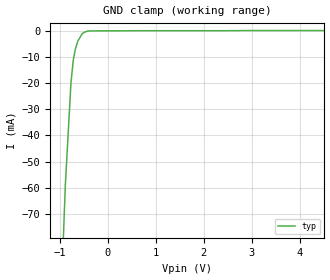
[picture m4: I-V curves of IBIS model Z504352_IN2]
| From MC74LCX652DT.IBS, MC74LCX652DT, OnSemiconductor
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| (C) COPYRIGHT 1993-2000
| MENTOR GRAPHICS CORPORATION
| ICX STANDARD LIBRARY, ICX PROJECT MODELING,
| ICX CUSTOM MODELING, ICX VENDOR MODEL
| ALL RIGHTS RESERVED.
| THE FOLLOWING ARE TRADEMARKS OR SERVICE MARKS OF
| MENTOR GRAPHICS CORPORATION:ICX (R), ICX STANDARD
| LIBRARY(R), ICX PROJECT MODELING(R), ICX CUSTOM
| MODELING(R), qualityIBIS(TM), MODELVIEWER(TM),
| AND MODELEDITOR(TM)
| ALL COPIES OF SOFTWARE, INCLUDING BUT NOT LIMITED TO
| ANY MODIFICATIONS, ENHANCEMENTS OR DERIVATIVE WORKS,
| MUST CONTAIN ALL MENTOR GRAPHICS CORPORATION'S
| NOTICES AND LEGENDS, INCLUDING THOSE EMBEDDED IN
| SOFTWARE AND THOSE AFFIXED TO SOFTWARE MEDIUM
| AND CONTAINER, AS RECEIVED FROM MENTOR GRAPHICS
| CORPORATION.
| Model Application Version 1.89 2/18/99.
[Model] Z504352_IN2
Model_type Input
Vinl = 800.0mV
Vinh = 2.000V
C_comp 4.000pF NA NA
| variable typ   min   max
[Voltage Range] 3.300V NA NA
[GND Clamp Reference] 0.000V NA NA
[POWER Clamp Reference] 3.300V NA NA
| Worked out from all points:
|   GND clamp passes 1 mA (typ) near -0.54 V on its own axis
[GND Clamp]
-3.3V     -1.465A    NA         NA
-1.029V   -129.6mA   NA         NA
-885.6mV  -58.83mA   NA         NA
-768mV    -19.61mA   NA         NA
-718.6mV  -10.84mA   NA         NA
-679.1mV  -7.008mA   NA         NA
-625mV    -3.764mA   NA         NA
-532.1mV  -894.9uA   NA         NA
-468.7mV  -232.3uA   NA         NA
-205.1mV  138.7uA    NA         NA
6.6V      255.4uA    NA         NA
[POWER Clamp]
-3.3V     0A         NA         NA
6.6V      0A         NA         NA
